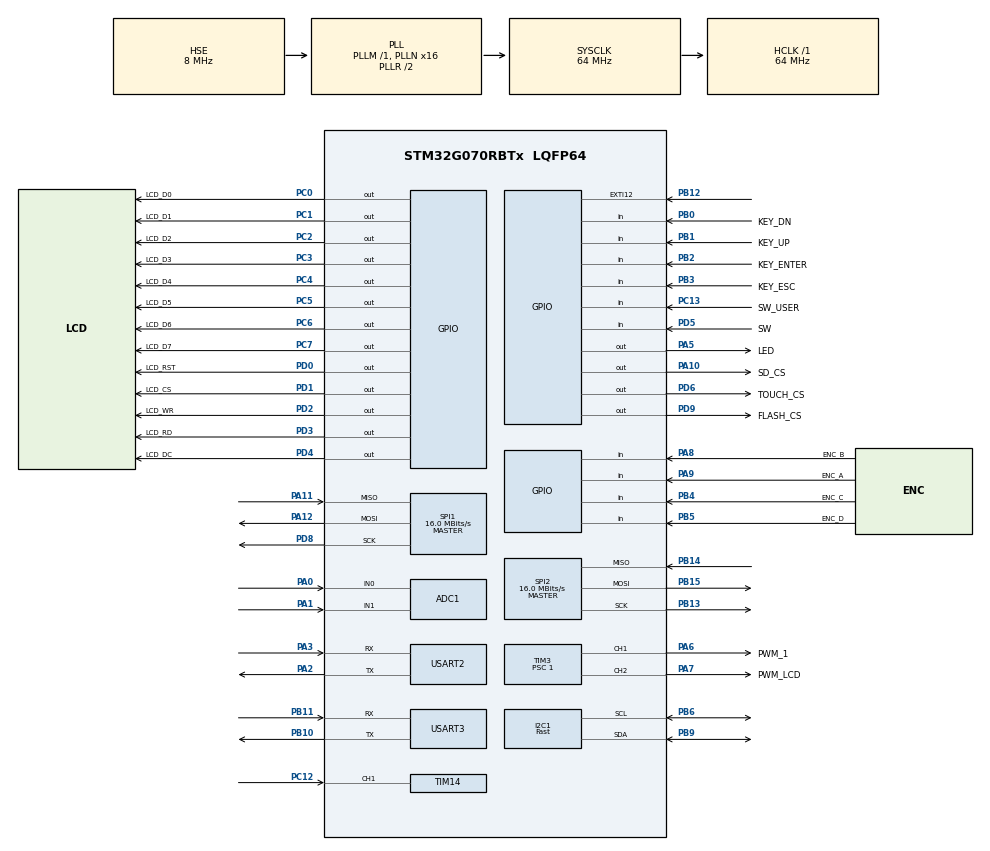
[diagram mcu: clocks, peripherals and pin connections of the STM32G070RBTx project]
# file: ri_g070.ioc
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ADC1.Channel-0\#ChannelRegularConversion=ADC_CHANNEL_0
ADC1.Channel-1\#ChannelRegularConversion=ADC_CHANNEL_1
ADC1.ContinuousConvMode=ENABLE
ADC1.NbrOfConversion=2
ADC1.NbrOfConversionFlag=1
ADC1.Rank-0\#ChannelRegularConversion=1
ADC1.Rank-1\#ChannelRegularConversion=2
ADC1.SamplingTime-0\#ChannelRegularConversion=ADC_SAMPLINGTIME_COMMON_1
ADC1.SamplingTime-1\#ChannelRegularConversion=ADC_SAMPLINGTIME_COMMON_1
ADC1.SamplingTimeCommon1=ADC_SAMPLETIME_160CYCLES_5
ADC1.SamplingTimeCommon2=ADC_SAMPLETIME_79CYCLES_5
ADC1.master=1
I2C1.I2C_Speed_Mode=I2C_Fast
I2C1.Timing=0x00602173
Mcu.Family=STM32G0
Mcu.Name=STM32G070RBTx
Mcu.Package=LQFP64
NVIC.TIM6_IRQn=true\:0\:0\:false\:false\:true\:false\:true
NVIC.TimeBase=TIM6_IRQn
NVIC.TimeBaseIP=TIM6
PA0.Mode=IN0
PA0.Signal=ADC1_IN0
PA1.Mode=IN1
PA1.Signal=ADC1_IN1
PA10.GPIO_Label=SD_CS
PA10.PinState=GPIO_PIN_SET
PA10.Signal=GPIO_Output
PA11\ [PA9].Mode=Full_Duplex_Master
PA11\ [PA9].Signal=SPI1_MISO
PA12\ [PA10].Mode=Full_Duplex_Master
PA12\ [PA10].Signal=SPI1_MOSI
PA13.GPIO_Label=TMS
PA13.Mode=Serial_Wire
PA13.Signal=SYS_SWDIO
PA14-BOOT0.GPIO_Label=TCK
PA14-BOOT0.Mode=Serial_Wire
PA14-BOOT0.Signal=SYS_SWCLK
PA2.Mode=Asynchronous
PA2.Signal=USART2_TX
PA3.Mode=Asynchronous
PA3.Signal=USART2_RX
PA5.GPIO_Label=LED
PA5.Signal=GPIO_Output
PA6.GPIO_Label=PWM_1
PA6.Signal=S_TIM3_CH1
PA7.GPIO_Label=PWM_LCD
PA7.Signal=S_TIM3_CH2
PA8.GPIO_Label=ENC_B
PA8.GPIO_PuPd=GPIO_NOPULL
PA8.Signal=GPIO_Input
PA9.GPIO_Label=ENC_A
PA9.GPIO_PuPd=GPIO_NOPULL
PA9.Signal=GPIO_Input
PB0.GPIO_Label=KEY_DN
PB0.GPIO_PuPd=GPIO_PULLUP
PB0.Signal=GPIO_Input
PB1.GPIO_Label=KEY_UP
PB1.GPIO_PuPd=GPIO_PULLUP
PB1.Signal=GPIO_Input
PB10.Mode=Asynchronous
PB10.Signal=USART3_TX
PB11.Mode=Asynchronous
PB11.Signal=USART3_RX
PB12.GPIO_PuPd=GPIO_PULLUP
PB12.Signal=GPXTI12
PB13.Mode=Full_Duplex_Master
PB13.Signal=SPI2_SCK
PB14.Mode=Full_Duplex_Master
PB14.Signal=SPI2_MISO
PB15.Mode=Full_Duplex_Master
PB15.Signal=SPI2_MOSI
PB2.GPIO_Label=KEY_ENTER
PB2.GPIO_PuPd=GPIO_PULLUP
PB2.Signal=GPIO_Input
PB3.GPIO_Label=KEY_ESC
PB3.GPIO_PuPd=GPIO_PULLUP
PB3.Signal=GPIO_Input
PB4.GPIO_Label=ENC_C
PB4.Signal=GPIO_Input
PB5.GPIO_Label=ENC_D
PB5.Signal=GPIO_Input
PB6.Mode=I2C
PB6.Signal=I2C1_SCL
PB9.Mode=I2C
PB9.Signal=I2C1_SDA
PC0.GPIO_Label=LCD_D0
PC0.Signal=GPIO_Output
PC1.GPIO_Label=LCD_D1
PC1.Signal=GPIO_Output
PC12.GPIO_PuPd=GPIO_PULLUP
PC12.Signal=S_TIM14_CH1
PC13.GPIO_Label=SW_USER
PC13.GPIO_PuPd=GPIO_PULLUP
PC13.Signal=GPIO_Input
PC14-OSC32_IN\ (PC14).Mode=LSE-External-Oscillator
PC14-OSC32_IN\ (PC14).Signal=RCC_OSC32_IN
PC15-OSC32_OUT\ (PC15).Mode=LSE-External-Oscillator
PC15-OSC32_OUT\ (PC15).Signal=RCC_OSC32_OUT
PC2.GPIO_Label=LCD_D2
PC2.Signal=GPIO_Output
PC3.GPIO_Label=LCD_D3
PC3.Signal=GPIO_Output
PC4.GPIO_Label=LCD_D4
PC4.Signal=GPIO_Output
PC5.GPIO_Label=LCD_D5
PC5.Signal=GPIO_Output
PC6.GPIO_Label=LCD_D6
PC6.Signal=GPIO_Output
PC7.GPIO_Label=LCD_D7
PC7.Signal=GPIO_Output
PD0.GPIO_Label=LCD_RST
PD0.PinState=GPIO_PIN_SET
PD0.Signal=GPIO_Output
PD1.GPIO_Label=LCD_CS
PD1.PinState=GPIO_PIN_SET
PD1.Signal=GPIO_Output
PD2.GPIO_Label=LCD_WR
PD2.PinState=GPIO_PIN_SET
PD2.Signal=GPIO_Output
PD3.GPIO_Label=LCD_RD
PD3.PinState=GPIO_PIN_SET
PD3.Signal=GPIO_Output
PD4.GPIO_Label=LCD_DC
PD4.PinState=GPIO_PIN_SET
PD4.Signal=GPIO_Output
PD5.GPIO_Label=SW
PD5.GPIO_PuPd=GPIO_PULLUP
PD5.Signal=GPIO_Input
PD6.GPIO_Label=TOUCH_CS
PD6.PinState=GPIO_PIN_SET
PD6.Signal=GPIO_Output
PD8.Mode=Full_Duplex_Master
PD8.Signal=SPI1_SCK
PD9.GPIO_Label=FLASH_CS
PD9.PinState=GPIO_PIN_SET
PD9.Signal=GPIO_Output
PF0-OSC_IN\ (PF0).GPIO_Label=MCO
PF0-OSC_IN\ (PF0).Mode=HSE-External-Clock-Source
PF0-OSC_IN\ (PF0).Signal=RCC_OSC_IN
ProjectManager.HeapSize=0x200
ProjectManager.StackSize=0x400
ProjectManager.TargetToolchain=STM32CubeIDE
RCC.ADCFreq_Value=64000000
RCC.AHBFreq_Value=64000000
RCC.CortexFreq_Value=64000000
RCC.EXTERNAL_CLOCK_VALUE=12288000
RCC.EnableCSSLSE=true
RCC.EnbaleCSS=true
RCC.HCLKFreq_Value=64000000
RCC.HSE_VALUE=8000000
RCC.HSI_VALUE=16000000
RCC.PLLN=16
RCC.PLLSourceVirtual=RCC_PLLSOURCE_HSE
RCC.RTCClockSelection=RCC_RTCCLKSOURCE_LSE
RCC.SYSCLKFreq_VALUE=64000000
RCC.SYSCLKSource=RCC_SYSCLKSOURCE_PLLCLK
RCC.VCOOutputFreq_Value=128000000
SH.S_TIM14_CH1.0=TIM14_CH1,Input_Capture1_from_TI1
SH.S_TIM3_CH1.0=TIM3_CH1,PWM Generation1 CH1
SH.S_TIM3_CH2.0=TIM3_CH2,PWM Generation2 CH2
SPI1.BaudRatePrescaler=SPI_BAUDRATEPRESCALER_4
SPI1.CalculateBaudRate=16.0 MBits/s
SPI1.DataSize=SPI_DATASIZE_8BIT
SPI1.Direction=SPI_DIRECTION_2LINES
SPI1.Mode=SPI_MODE_MASTER
SPI1.VirtualType=VM_MASTER
SPI2.BaudRatePrescaler=SPI_BAUDRATEPRESCALER_4
SPI2.CalculateBaudRate=16.0 MBits/s
SPI2.DataSize=SPI_DATASIZE_8BIT
SPI2.Direction=SPI_DIRECTION_2LINES
SPI2.Mode=SPI_MODE_MASTER
SPI2.VirtualType=VM_MASTER
TIM14.Channel=TIM_CHANNEL_1
TIM3.Channel-PWM\ Generation1\ CH1=TIM_CHANNEL_1
TIM3.Channel-PWM\ Generation2\ CH2=TIM_CHANNEL_2
TIM3.Period=4095
TIM3.Prescaler=1
TIM3.Pulse-PWM\ Generation1\ CH1=0
TIM3.Pulse-PWM\ Generation2\ CH2=0
USART2.VirtualMode-Asynchronous=VM_ASYNC
USART2.WordLength=WORDLENGTH_8B
USART3.VirtualMode-Asynchronous=VM_ASYNC
USART3.WordLength=WORDLENGTH_8B
VP_FATFS_VS_Generic.Mode=User_defined
VP_RTC_VS_RTC_Activate.Mode=RTC_Enabled
VP_SYS_VS_tim6.Mode=TIM6
VP_TIM14_VS_ClockSourceINT.Mode=Enable_Timer
VP_TIM3_VS_ClockSourceINT.Mode=Internal
board=NUCLEO-G070RB

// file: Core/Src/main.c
/* USER CODE BEGIN Header */
/**
  ******************************************************************************
  * @file           : main.c
  * @brief          : Main program body
  ******************************************************************************
  * @attention
  *
  * <h2><center>&copy; Copyright (c) 2019 STMicroelectronics.
  * All rights reserved.</center></h2>
  *
  * This software component is licensed by ST under BSD 3-Clause license,
  * the "License"; You may not use this file except in compliance with the
  * License. You may obtain a copy of the License at:
  *                        opensource.org/licenses/BSD-3-Clause
  *
  ******************************************************************************
  */
/* USER CODE END Header */

#include "main.h"
//#include "app_fatfs.h"

/* USER CODE BEGIN Includes */
#include <stdio.h>
#include "string.h"
#include "lvgl/lvgl.h"
#include "eeprom.h"
#include "w25qxx.h"
#include "lcd16x2.h"
#include "key.h"
#include "log.h"
#include "misc.h"
//#include "ssd1306.h"
//#include "font.h"
#include "adc.h"
#include "ST7735.h"
#include "ILI9341.h"
/* USER CODE END Includes */

/* USER CODE BEGIN PTD */
static lv_disp_buf_t disp_buf;
static lv_color_t buf[LV_HOR_RES_MAX * 10];                     /*Declare a buffer for 10 lines*/
uint32_t timer_key = 0;
uint32_t int_enc_a = 0;
uint32_t int_enc_b = 0;
uint32_t int_user = 0;
uint8_t tst_eeprom[10];
char buffer[1000] = {0};
uint32_t timer_1s = 0;
float temperatura = 10.0f;
uint8_t enc_rot = 0;
uint8_t enc_detect = 0;
uint16_t enc_count = 0;
uint16_t enc_previous = 0;

extern uint32_t adc_ch0, adc_ch1;
lv_obj_t * scr;
lv_obj_t * scr2;
/* USER CODE END PTD */

/* USER CODE BEGIN PM */
void screen1(void){
    lv_scr_load(scr);
}

void screen2(void){
    lv_scr_load(scr2);
}

/* USER CODE END PM */

ADC_HandleTypeDef hadc1;

I2C_HandleTypeDef hi2c1;

RTC_HandleTypeDef hrtc;

SPI_HandleTypeDef hspi1;
SPI_HandleTypeDef hspi2;

TIM_HandleTypeDef htim3;
TIM_HandleTypeDef htim14;

UART_HandleTypeDef huart2;
UART_HandleTypeDef huart3;

void SystemClock_Config(void);
static void MX_GPIO_Init(void);
static void MX_ADC1_Init(void);
static void MX_I2C1_Init(void);
static void MX_RTC_Init(void);
static void MX_SPI1_Init(void);
static void MX_SPI2_Init(void);
static void MX_TIM3_Init(void);
static void MX_TIM14_Init(void);
static void MX_USART2_UART_Init(void);
static void MX_USART3_UART_Init(void);

/* USER CODE BEGIN 0 */
uint16_t pwm = 0;
/* USER CODE END 0 */

int main(void)
{

  /* MCU Configuration--------------------------------------------------------*/

  /* Reset of all peripherals, Initializes the Flash interface and the Systick. */
  HAL_Init();

  /* Configure the system clock */
  SystemClock_Config();

  /* Initialize all configured peripherals */
  MX_GPIO_Init();
  MX_ADC1_Init();
  MX_I2C1_Init();
  MX_RTC_Init();
  MX_SPI1_Init();
  MX_SPI2_Init();
  MX_TIM3_Init();
  MX_TIM14_Init();
  MX_USART2_UART_Init();
  MX_USART3_UART_Init();
  //if (MX_FATFS_Init() != APP_OK) {
  //  Error_Handler();
//  }
  /* USER CODE BEGIN 2 */

  temperatura = (float)(2000 * (3.30 / 4095.0));
  sprintf(buffer, "Teste STM32G070 Temperatura : %0.1f\n\r", temperatura);
  HAL_UART_Transmit(&huart2, (uint8_t *)&buffer, strlen(buffer), 0xFFFF);

  ILI9341_Init();
  ILI9341_Set_Rotation(3);
  ILI9341_Fill_Screen(0x0000);

  //ST7735_Init();
  //ST7735_AddrSet(0,0,159,127);
  //ST7735_Clear(0x0000);
  //ST7735_Orientation(scr_CCW);

  //ST7735_PutStr5x7(40,10,"Hello world!",RGB565(255,255,255));

	lv_disp_buf_init(&disp_buf, buf, NULL, LV_HOR_RES_MAX * 10);    //Initialize the display buffer
	//lv_log_register_print(my_print); //register print function for debugging
	lv_init();

	// ILI9341
	lv_disp_drv_t disp_drv;               //Descriptor of a display driver
	lv_disp_drv_init(&disp_drv);          //Basic initialization

	disp_drv.hor_res = 320;               //Set the horizontal resolution
	disp_drv.ver_res = 240;               //Set the vertical resolution
	disp_drv.flush_cb = ILI9341_Flush;	 //Set your driver function

	// ST7735
//	disp_drv.hor_res = 160;               //Set the horizontal resolution
//	disp_drv.ver_res = 128;               //Set the vertical resolution
//	disp_drv.flush_cb = ST7735_Flush_3;		//Set your driver function

	disp_drv.buffer = &disp_buf;          //Assign the buffer to teh display
	lv_disp_drv_register(&disp_drv);      //Finally register the driver

		//SCREEN 1
	   //custom input
	    scr = lv_obj_create(NULL, NULL);
	    lv_scr_load(scr);

	    //Create a Label on the currently active screen
	    lv_obj_t * label1 =  lv_label_create(lv_scr_act(), NULL);
	    lv_obj_t * label2 =  lv_label_create(lv_scr_act(), NULL);

	    static lv_style_t style_bg;
	    lv_style_copy(&style_bg, &lv_style_plain);
	    lv_obj_set_style(scr, &style_bg);

	    char buf[32];
	    sprintf(buf, "%s%s", LV_SYMBOL_WIFI,LV_SYMBOL_BATTERY_FULL);
	    lv_label_set_text(label1,buf);
	    lv_obj_align(label1, scr, LV_ALIGN_IN_TOP_RIGHT, 0, 0);
	    lv_label_set_long_mode(label2, LV_LABEL_LONG_DOT);
	    lv_obj_set_size(label2, 128, 20);
	    lv_label_set_text(label2, "Tela 0");
	    lv_obj_align(label2, scr, LV_ALIGN_IN_BOTTOM_MID, 0, 0);

	    //SCREEN 2
	    scr2 = lv_obj_create(NULL, NULL);
	    lv_obj_t * bar1 = lv_bar_create(scr2, NULL);
	    lv_obj_set_size(bar1, 100, 20);
	    lv_obj_align(bar1, scr2, LV_ALIGN_IN_BOTTOM_MID, 0, -5);
	    lv_bar_set_value(bar1, 70, 0);
	    //Create a label right to the bar
	    lv_obj_t * bar1_label = lv_label_create(scr2, NULL);
	    lv_label_set_text(bar1_label, "Progress");
	    lv_obj_align(bar1_label, scr2, LV_ALIGN_IN_TOP_MID, 0, 0);

	    //group settings
	    lv_group_t *group = lv_group_create();
	    lv_group_add_obj(group, scr);
	    lv_group_add_obj(group, scr2);

  // Inicia Fila de Eventos do Teclado
  Evt_InitQueue();

  // Inicia Tecla
  KeyboardInit(0x01);

  // Inicia W25Q128
  W25qxx_Init();

  HAL_TIM_PWM_Start(&htim3, TIM_CHANNEL_1);
  HAL_TIM_PWM_Start(&htim3, TIM_CHANNEL_2);
  __HAL_TIM_SetCompare(&htim3, TIM_CHANNEL_1, 1);			// Zera PWM_RF
  __HAL_TIM_SetCompare(&htim3, TIM_CHANNEL_2, 4095);		// PWM_BackLight 100%

  /* USER CODE END 2 */

  /* Infinite loop */
  while (1)
  {

    /* USER CODE BEGIN 3 */
	  if( (HAL_GetTick() - timer_1s) > 500) {
		  HAL_GPIO_TogglePin(GPIOA, LED_Pin);

		  //EEPROM24XX_Save(0x0000, (uint8_t*)"UA", 2);
		  EEPROM24XX_Read(0x0000, (uint8_t*)&tst_eeprom, 2);
		  //sprintf(buffer, "ADC: Ch0: %ld, Ch1: %ld\n",adc_ch0, adc_ch1);
		  //HAL_UART_Transmit(&huart2, (uint8_t *)&buffer, strlen(buffer), 0xFFFF);
		  timer_1s = HAL_GetTick();
	  }
	  pwm++;
	  if(pwm > 4095) pwm = 0;
	  __HAL_TIM_SetCompare(&htim3, TIM_CHANNEL_1, pwm);		// Teste RF PWM 0...4095

	  // Eventos de Teclado
	  KeyboardEvent();

	  // Eventos da GUI LittleVGL
	  lv_task_handler();

	  // Le ADC
	  Read_ADC();

	  // Le Encoder
	  Read_Encoder_A();
	  //Read_Encoder_B();

	  //
	  //ssd1306_SetCursor(23,13);
	  //ssd1306_WriteString("STM32G070 Test",Font_7x10, White);

	  //ssd1306_SetCursor(1, 23);
	  //sprintf(buffer, "CH0: %ld", adc_ch0);
	  //ssd1306_WriteString(buffer, Font_7x10, White);

	  //ssd1306_SetCursor(1, 33);
	  //sprintf(buffer, "CH1: %ld", adc_ch1);
	  //ssd1306_WriteString(buffer, Font_7x10, White);
	  //ssd1306_UpdateScreen();

	  //
  }
  /* USER CODE END 3 */
}

void SystemClock_Config(void)
{
  RCC_OscInitTypeDef RCC_OscInitStruct = {0};
  RCC_ClkInitTypeDef RCC_ClkInitStruct = {0};
  RCC_PeriphCLKInitTypeDef PeriphClkInit = {0};

  /** Configure the main internal regulator output voltage
  */
  HAL_PWREx_ControlVoltageScaling(PWR_REGULATOR_VOLTAGE_SCALE1);
  /** Configure LSE Drive Capability
  */
  __HAL_RCC_LSEDRIVE_CONFIG(RCC_LSEDRIVE_LOW);
  /** Initializes the CPU, AHB and APB busses clocks
  */
  RCC_OscInitStruct.OscillatorType = RCC_OSCILLATORTYPE_HSE|RCC_OSCILLATORTYPE_LSE;
  RCC_OscInitStruct.HSEState = RCC_HSE_BYPASS;
  RCC_OscInitStruct.LSEState = RCC_LSE_ON;
  RCC_OscInitStruct.PLL.PLLState = RCC_PLL_ON;
  RCC_OscInitStruct.PLL.PLLSource = RCC_PLLSOURCE_HSE;
  RCC_OscInitStruct.PLL.PLLM = RCC_PLLM_DIV1;
  RCC_OscInitStruct.PLL.PLLN = 16;
  RCC_OscInitStruct.PLL.PLLP = RCC_PLLP_DIV2;
  RCC_OscInitStruct.PLL.PLLR = RCC_PLLR_DIV2;
  if (HAL_RCC_OscConfig(&RCC_OscInitStruct) != HAL_OK)
  {
    Error_Handler();
  }
  /** Initializes the CPU, AHB and APB busses clocks
  */
  RCC_ClkInitStruct.ClockType = RCC_CLOCKTYPE_HCLK|RCC_CLOCKTYPE_SYSCLK
                              |RCC_CLOCKTYPE_PCLK1;
  RCC_ClkInitStruct.SYSCLKSource = RCC_SYSCLKSOURCE_PLLCLK;
  RCC_ClkInitStruct.AHBCLKDivider = RCC_SYSCLK_DIV1;
  RCC_ClkInitStruct.APB1CLKDivider = RCC_HCLK_DIV1;

  if (HAL_RCC_ClockConfig(&RCC_ClkInitStruct, FLASH_LATENCY_2) != HAL_OK)
  {
    Error_Handler();
  }
  /** Initializes the peripherals clocks
  */
  PeriphClkInit.PeriphClockSelection = RCC_PERIPHCLK_RTC|RCC_PERIPHCLK_USART2
                              |RCC_PERIPHCLK_I2C1|RCC_PERIPHCLK_ADC;
  PeriphClkInit.Usart2ClockSelection = RCC_USART2CLKSOURCE_PCLK1;
  PeriphClkInit.I2c1ClockSelection = RCC_I2C1CLKSOURCE_PCLK1;
  PeriphClkInit.AdcClockSelection = RCC_ADCCLKSOURCE_SYSCLK;
  PeriphClkInit.RTCClockSelection = RCC_RTCCLKSOURCE_LSE;

  if (HAL_RCCEx_PeriphCLKConfig(&PeriphClkInit) != HAL_OK)
  {
    Error_Handler();
  }
  /** Enables the Clock Security System
  */
  HAL_RCC_EnableCSS();
  /** Enables the Clock Security System
  */
  HAL_RCC_EnableLSECSS();
}

static void MX_ADC1_Init(void)
{

  ADC_ChannelConfTypeDef sConfig = {0};

  /** Configure the global features of the ADC (Clock, Resolution, Data Alignment and number of conversion)
  */
  hadc1.Instance = ADC1;
  hadc1.Init.ClockPrescaler = ADC_CLOCK_SYNC_PCLK_DIV2;
  hadc1.Init.Resolution = ADC_RESOLUTION_12B;
  hadc1.Init.DataAlign = ADC_DATAALIGN_RIGHT;
  hadc1.Init.ScanConvMode = ADC_SCAN_ENABLE;
  hadc1.Init.EOCSelection = ADC_EOC_SINGLE_CONV;
  hadc1.Init.LowPowerAutoWait = DISABLE;
  hadc1.Init.LowPowerAutoPowerOff = DISABLE;
  hadc1.Init.ContinuousConvMode = ENABLE;
  hadc1.Init.NbrOfConversion = 2;
  hadc1.Init.DiscontinuousConvMode = DISABLE;
  hadc1.Init.ExternalTrigConv = ADC_SOFTWARE_START;
  hadc1.Init.ExternalTrigConvEdge = ADC_EXTERNALTRIGCONVEDGE_NONE;
  hadc1.Init.DMAContinuousRequests = DISABLE;
  hadc1.Init.Overrun = ADC_OVR_DATA_PRESERVED;
  hadc1.Init.SamplingTimeCommon1 = ADC_SAMPLETIME_160CYCLES_5;
  hadc1.Init.SamplingTimeCommon2 = ADC_SAMPLETIME_79CYCLES_5;
  hadc1.Init.OversamplingMode = DISABLE;
  hadc1.Init.TriggerFrequencyMode = ADC_TRIGGER_FREQ_HIGH;
  if (HAL_ADC_Init(&hadc1) != HAL_OK)
  {
    Error_Handler();
  }
  /** Configure Regular Channel
  */
  sConfig.Channel = ADC_CHANNEL_0;
  sConfig.Rank = ADC_REGULAR_RANK_1;
  sConfig.SamplingTime = ADC_SAMPLINGTIME_COMMON_1;
  if (HAL_ADC_ConfigChannel(&hadc1, &sConfig) != HAL_OK)
  {
    Error_Handler();
  }
  /** Configure Regular Channel
  */
  sConfig.Channel = ADC_CHANNEL_1;
  sConfig.Rank = ADC_REGULAR_RANK_2;
  if (HAL_ADC_ConfigChannel(&hadc1, &sConfig) != HAL_OK)
  {
    Error_Handler();
  }

}

static void MX_I2C1_Init(void)
{

  hi2c1.Instance = I2C1;
  hi2c1.Init.Timing = 0x00602173;
  hi2c1.Init.OwnAddress1 = 0;
  hi2c1.Init.AddressingMode = I2C_ADDRESSINGMODE_7BIT;
  hi2c1.Init.DualAddressMode = I2C_DUALADDRESS_DISABLE;
  hi2c1.Init.OwnAddress2 = 0;
  hi2c1.Init.OwnAddress2Masks = I2C_OA2_NOMASK;
  hi2c1.Init.GeneralCallMode = I2C_GENERALCALL_DISABLE;
  hi2c1.Init.NoStretchMode = I2C_NOSTRETCH_DISABLE;
  if (HAL_I2C_Init(&hi2c1) != HAL_OK)
  {
    Error_Handler();
  }
  /** Configure Analogue filter
  */
  if (HAL_I2CEx_ConfigAnalogFilter(&hi2c1, I2C_ANALOGFILTER_ENABLE) != HAL_OK)
  {
    Error_Handler();
  }
  /** Configure Digital filter
  */
  if (HAL_I2CEx_ConfigDigitalFilter(&hi2c1, 0) != HAL_OK)
  {
    Error_Handler();
  }

}

static void MX_RTC_Init(void)
{

  /** Initialize RTC Only
  */
  hrtc.Instance = RTC;
  hrtc.Init.HourFormat = RTC_HOURFORMAT_24;
  hrtc.Init.AsynchPrediv = 127;
  hrtc.Init.SynchPrediv = 255;
  hrtc.Init.OutPut = RTC_OUTPUT_DISABLE;
  hrtc.Init.OutPutRemap = RTC_OUTPUT_REMAP_NONE;
  hrtc.Init.OutPutPolarity = RTC_OUTPUT_POLARITY_HIGH;
  hrtc.Init.OutPutType = RTC_OUTPUT_TYPE_OPENDRAIN;
  hrtc.Init.OutPutPullUp = RTC_OUTPUT_PULLUP_NONE;
  if (HAL_RTC_Init(&hrtc) != HAL_OK)
  {
    Error_Handler();
  }

}

static void MX_SPI1_Init(void)
{

  /* SPI1 parameter configuration*/
  hspi1.Instance = SPI1;
  hspi1.Init.Mode = SPI_MODE_MASTER;
  hspi1.Init.Direction = SPI_DIRECTION_2LINES;
  hspi1.Init.DataSize = SPI_DATASIZE_8BIT;
  hspi1.Init.CLKPolarity = SPI_POLARITY_LOW;
  hspi1.Init.CLKPhase = SPI_PHASE_1EDGE;
  hspi1.Init.NSS = SPI_NSS_SOFT;
  hspi1.Init.BaudRatePrescaler = SPI_BAUDRATEPRESCALER_4;
  hspi1.Init.FirstBit = SPI_FIRSTBIT_MSB;
  hspi1.Init.TIMode = SPI_TIMODE_DISABLE;
  hspi1.Init.CRCCalculation = SPI_CRCCALCULATION_DISABLE;
  hspi1.Init.CRCPolynomial = 7;
  hspi1.Init.CRCLength = SPI_CRC_LENGTH_DATASIZE;
  hspi1.Init.NSSPMode = SPI_NSS_PULSE_ENABLE;
  if (HAL_SPI_Init(&hspi1) != HAL_OK)
  {
    Error_Handler();
  }

}

static void MX_SPI2_Init(void)
{

  /* SPI2 parameter configuration*/
  hspi2.Instance = SPI2;
  hspi2.Init.Mode = SPI_MODE_MASTER;
  hspi2.Init.Direction = SPI_DIRECTION_2LINES;
  hspi2.Init.DataSize = SPI_DATASIZE_8BIT;
  hspi2.Init.CLKPolarity = SPI_POLARITY_LOW;
  hspi2.Init.CLKPhase = SPI_PHASE_1EDGE;
  hspi2.Init.NSS = SPI_NSS_SOFT;
  hspi2.Init.BaudRatePrescaler = SPI_BAUDRATEPRESCALER_4;
  hspi2.Init.FirstBit = SPI_FIRSTBIT_MSB;
  hspi2.Init.TIMode = SPI_TIMODE_DISABLE;
  hspi2.Init.CRCCalculation = SPI_CRCCALCULATION_DISABLE;
  hspi2.Init.CRCPolynomial = 7;
  hspi2.Init.CRCLength = SPI_CRC_LENGTH_DATASIZE;
  hspi2.Init.NSSPMode = SPI_NSS_PULSE_ENABLE;
  if (HAL_SPI_Init(&hspi2) != HAL_OK)
  {
    Error_Handler();
  }

}

static void MX_TIM3_Init(void)
{

  TIM_ClockConfigTypeDef sClockSourceConfig = {0};
  TIM_MasterConfigTypeDef sMasterConfig = {0};
  TIM_OC_InitTypeDef sConfigOC = {0};

  htim3.Instance = TIM3;
  htim3.Init.Prescaler = 1;
  htim3.Init.CounterMode = TIM_COUNTERMODE_UP;
  htim3.Init.Period = 4095;
  htim3.Init.ClockDivision = TIM_CLOCKDIVISION_DIV1;
  htim3.Init.AutoReloadPreload = TIM_AUTORELOAD_PRELOAD_DISABLE;
  if (HAL_TIM_Base_Init(&htim3) != HAL_OK)
  {
    Error_Handler();
  }
  sClockSourceConfig.ClockSource = TIM_CLOCKSOURCE_INTERNAL;
  if (HAL_TIM_ConfigClockSource(&htim3, &sClockSourceConfig) != HAL_OK)
  {
    Error_Handler();
  }
  if (HAL_TIM_PWM_Init(&htim3) != HAL_OK)
  {
    Error_Handler();
  }
  sMasterConfig.MasterOutputTrigger = TIM_TRGO_RESET;
  sMasterConfig.MasterSlaveMode = TIM_MASTERSLAVEMODE_DISABLE;
  if (HAL_TIMEx_MasterConfigSynchronization(&htim3, &sMasterConfig) != HAL_OK)
  {
    Error_Handler();
  }
  sConfigOC.OCMode = TIM_OCMODE_PWM1;
  sConfigOC.Pulse = 0;
  sConfigOC.OCPolarity = TIM_OCPOLARITY_HIGH;
  sConfigOC.OCFastMode = TIM_OCFAST_DISABLE;
  if (HAL_TIM_PWM_ConfigChannel(&htim3, &sConfigOC, TIM_CHANNEL_1) != HAL_OK)
  {
    Error_Handler();
  }
  if (HAL_TIM_PWM_ConfigChannel(&htim3, &sConfigOC, TIM_CHANNEL_2) != HAL_OK)
  {
    Error_Handler();
  }
  HAL_TIM_MspPostInit(&htim3);

}

static void MX_TIM14_Init(void)
{

  TIM_IC_InitTypeDef sConfigIC = {0};

  htim14.Instance = TIM14;
  htim14.Init.Prescaler = 0;
  htim14.Init.CounterMode = TIM_COUNTERMODE_UP;
  htim14.Init.Period = 0;
  htim14.Init.ClockDivision = TIM_CLOCKDIVISION_DIV1;
  htim14.Init.AutoReloadPreload = TIM_AUTORELOAD_PRELOAD_DISABLE;
  if (HAL_TIM_Base_Init(&htim14) != HAL_OK)
  {
    Error_Handler();
  }
  if (HAL_TIM_IC_Init(&htim14) != HAL_OK)
  {
    Error_Handler();
  }
  sConfigIC.ICPolarity = TIM_INPUTCHANNELPOLARITY_RISING;
  sConfigIC.ICSelection = TIM_ICSELECTION_DIRECTTI;
  sConfigIC.ICPrescaler = TIM_ICPSC_DIV1;
  sConfigIC.ICFilter = 0;
  if (HAL_TIM_IC_ConfigChannel(&htim14, &sConfigIC, TIM_CHANNEL_1) != HAL_OK)
  {
    Error_Handler();
  }

}

static void MX_USART2_UART_Init(void)
{

  huart2.Instance = USART2;
  huart2.Init.BaudRate = 115200;
  huart2.Init.WordLength = UART_WORDLENGTH_8B;
  huart2.Init.StopBits = UART_STOPBITS_1;
  huart2.Init.Parity = UART_PARITY_NONE;
  huart2.Init.Mode = UART_MODE_TX_RX;
  huart2.Init.HwFlowCtl = UART_HWCONTROL_NONE;
  huart2.Init.OverSampling = UART_OVERSAMPLING_16;
  huart2.Init.OneBitSampling = UART_ONE_BIT_SAMPLE_DISABLE;
  huart2.Init.ClockPrescaler = UART_PRESCALER_DIV1;
  huart2.AdvancedInit.AdvFeatureInit = UART_ADVFEATURE_NO_INIT;
  if (HAL_UART_Init(&huart2) != HAL_OK)
  {
    Error_Handler();
  }
  if (HAL_UARTEx_SetTxFifoThreshold(&huart2, UART_TXFIFO_THRESHOLD_1_8) != HAL_OK)
  {
    Error_Handler();
  }
  if (HAL_UARTEx_SetRxFifoThreshold(&huart2, UART_RXFIFO_THRESHOLD_1_8) != HAL_OK)
  {
    Error_Handler();
  }
  if (HAL_UARTEx_DisableFifoMode(&huart2) != HAL_OK)
  {
    Error_Handler();
  }

}

static void MX_USART3_UART_Init(void)
{

  huart3.Instance = USART3;
  huart3.Init.BaudRate = 115200;
  huart3.Init.WordLength = UART_WORDLENGTH_8B;
  huart3.Init.StopBits = UART_STOPBITS_1;
  huart3.Init.Parity = UART_PARITY_NONE;
  huart3.Init.Mode = UART_MODE_TX_RX;
  huart3.Init.HwFlowCtl = UART_HWCONTROL_NONE;
  huart3.Init.OverSampling = UART_OVERSAMPLING_16;
  huart3.Init.OneBitSampling = UART_ONE_BIT_SAMPLE_DISABLE;
  huart3.Init.ClockPrescaler = UART_PRESCALER_DIV1;
  huart3.AdvancedInit.AdvFeatureInit = UART_ADVFEATURE_NO_INIT;
  if (HAL_UART_Init(&huart3) != HAL_OK)
  {
    Error_Handler();
  }

}

static void MX_GPIO_Init(void)
{
  GPIO_InitTypeDef GPIO_InitStruct = {0};

  /* GPIO Ports Clock Enable */
  __HAL_RCC_GPIOC_CLK_ENABLE();
  __HAL_RCC_GPIOF_CLK_ENABLE();
  __HAL_RCC_GPIOA_CLK_ENABLE();
  __HAL_RCC_GPIOB_CLK_ENABLE();
  __HAL_RCC_GPIOD_CLK_ENABLE();

  /*Configure GPIO pin Output Level */
  HAL_GPIO_WritePin(GPIOC, LCD_D0_Pin|LCD_D1_Pin|LCD_D2_Pin|LCD_D3_Pin
                          |LCD_D4_Pin|LCD_D5_Pin|LCD_D6_Pin|LCD_D7_Pin, GPIO_PIN_RESET);

  /*Configure GPIO pin Output Level */
  HAL_GPIO_WritePin(LED_GPIO_Port, LED_Pin, GPIO_PIN_RESET);

  /*Configure GPIO pin Output Level */
  HAL_GPIO_WritePin(GPIOD, FLASH_CS_Pin|LCD_RST_Pin|LCD_CS_Pin|LCD_WR_Pin
                          |LCD_RD_Pin|LCD_DC_Pin|TOUCH_CS_Pin, GPIO_PIN_SET);

  /*Configure GPIO pin Output Level */
  HAL_GPIO_WritePin(SD_CS_GPIO_Port, SD_CS_Pin, GPIO_PIN_SET);

  /*Configure GPIO pin : SW_USER_Pin */
  GPIO_InitStruct.Pin = SW_USER_Pin;
  GPIO_InitStruct.Mode = GPIO_MODE_INPUT;
  GPIO_InitStruct.Pull = GPIO_PULLUP;
  HAL_GPIO_Init(SW_USER_GPIO_Port, &GPIO_InitStruct);

  /*Configure GPIO pins : LCD_D0_Pin LCD_D1_Pin LCD_D2_Pin LCD_D3_Pin
                           LCD_D4_Pin LCD_D5_Pin LCD_D6_Pin LCD_D7_Pin */
  GPIO_InitStruct.Pin = LCD_D0_Pin|LCD_D1_Pin|LCD_D2_Pin|LCD_D3_Pin
                          |LCD_D4_Pin|LCD_D5_Pin|LCD_D6_Pin|LCD_D7_Pin;
  GPIO_InitStruct.Mode = GPIO_MODE_OUTPUT_PP;
  GPIO_InitStruct.Pull = GPIO_NOPULL;
  GPIO_InitStruct.Speed = GPIO_SPEED_FREQ_LOW;
  HAL_GPIO_Init(GPIOC, &GPIO_InitStruct);

  /*Configure GPIO pins : LED_Pin SD_CS_Pin */
  GPIO_InitStruct.Pin = LED_Pin|SD_CS_Pin;
  GPIO_InitStruct.Mode = GPIO_MODE_OUTPUT_PP;
  GPIO_InitStruct.Pull = GPIO_NOPULL;
  GPIO_InitStruct.Speed = GPIO_SPEED_FREQ_LOW;
  HAL_GPIO_Init(GPIOA, &GPIO_InitStruct);

  /*Configure GPIO pins : KEY_DN_Pin KEY_UP_Pin KEY_ENTER_Pin KEY_ESC_Pin */
  GPIO_InitStruct.Pin = KEY_DN_Pin|KEY_UP_Pin|KEY_ENTER_Pin|KEY_ESC_Pin;
  GPIO_InitStruct.Mode = GPIO_MODE_INPUT;
  GPIO_InitStruct.Pull = GPIO_PULLUP;
  HAL_GPIO_Init(GPIOB, &GPIO_InitStruct);

  /*Configure GPIO pin : PB12 */
  GPIO_InitStruct.Pin = GPIO_PIN_12;
  GPIO_InitStruct.Mode = GPIO_MODE_IT_RISING;
  GPIO_InitStruct.Pull = GPIO_PULLUP;
  HAL_GPIO_Init(GPIOB, &GPIO_InitStruct);

  /*Configure GPIO pins : ENC_B_Pin ENC_A_Pin */
  GPIO_InitStruct.Pin = ENC_B_Pin|ENC_A_Pin;
  GPIO_InitStruct.Mode = GPIO_MODE_INPUT;
  GPIO_InitStruct.Pull = GPIO_NOPULL;
  HAL_GPIO_Init(GPIOA, &GPIO_InitStruct);

  /*Configure GPIO pins : FLASH_CS_Pin LCD_RST_Pin LCD_CS_Pin LCD_WR_Pin
                           LCD_RD_Pin LCD_DC_Pin TOUCH_CS_Pin */
  GPIO_InitStruct.Pin = FLASH_CS_Pin|LCD_RST_Pin|LCD_CS_Pin|LCD_WR_Pin
                          |LCD_RD_Pin|LCD_DC_Pin|TOUCH_CS_Pin;
  GPIO_InitStruct.Mode = GPIO_MODE_OUTPUT_PP;
  GPIO_InitStruct.Pull = GPIO_NOPULL;
  GPIO_InitStruct.Speed = GPIO_SPEED_FREQ_LOW;
  HAL_GPIO_Init(GPIOD, &GPIO_InitStruct);

  /*Configure GPIO pin : SW_Pin */
  GPIO_InitStruct.Pin = SW_Pin;
  GPIO_InitStruct.Mode = GPIO_MODE_INPUT;
  GPIO_InitStruct.Pull = GPIO_PULLUP;
  HAL_GPIO_Init(SW_GPIO_Port, &GPIO_InitStruct);

  /*Configure GPIO pins : ENC_C_Pin ENC_D_Pin */
  GPIO_InitStruct.Pin = ENC_C_Pin|ENC_D_Pin;
  GPIO_InitStruct.Mode = GPIO_MODE_INPUT;
  GPIO_InitStruct.Pull = GPIO_NOPULL;
  HAL_GPIO_Init(GPIOB, &GPIO_InitStruct);

}

void HAL_TIM_PeriodElapsedCallback(TIM_HandleTypeDef *htim)
{
  if (htim->Instance == TIM6) {
    HAL_IncTick();
  }
  /* USER CODE BEGIN Callback 1 */
  if (htim->Instance == TIM6) {
	  timer_key++;
	  if(timer_key >= 60) {
		  timer_key = 0;
		  Key_Read();
	  }
  }
  if (htim->Instance == TIM6) {
	  lv_tick_inc(1);
  }
  /* USER CODE END Callback 1 */
}

void Error_Handler(void)
{
}

/************************ (C) COPYRIGHT STMicroelectronics *****END OF FILE****/
